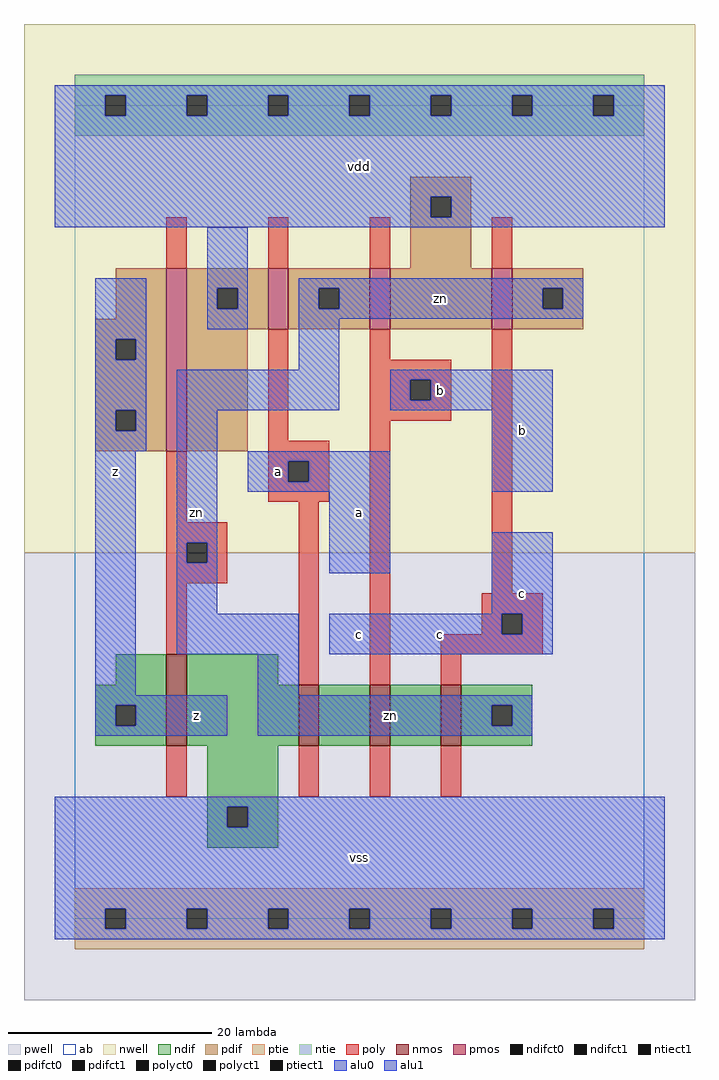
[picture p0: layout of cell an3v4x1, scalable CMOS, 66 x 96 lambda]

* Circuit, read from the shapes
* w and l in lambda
.subckt an3v4x1 a b c vdd vss z zn
M1 vss zn z vss nfet w=9 l=2
M2 n1 a vss vss nfet w=6 l=2
M3 n2 b n1 vss nfet w=6 l=2
M4 zn c n2 vss nfet w=6 l=2
M5 vdd zn z vdd pfet w=18 l=2
M6 zn a vdd vdd pfet w=6 l=2
M7 vdd b zn vdd pfet w=6 l=2
M8 zn c vdd vdd pfet w=6 l=2
.ends

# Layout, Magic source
magic
tech scmos
<< ab >>
rect 0 0 56 80
<< nwell >>
rect -5 36 61 88
<< pwell >>
rect -5 -8 61 36
<< poly >>
rect 9 64 11 69
rect 19 64 21 69
rect 29 64 31 69
rect 41 64 43 69
rect 19 47 21 58
rect 29 55 31 58
rect 29 53 37 55
rect 29 51 33 53
rect 35 51 37 53
rect 29 49 37 51
rect 9 39 11 46
rect 19 45 25 47
rect 19 43 21 45
rect 23 43 25 45
rect 19 41 25 43
rect 9 37 15 39
rect 9 35 11 37
rect 13 35 15 37
rect 9 33 15 35
rect 9 26 11 33
rect 22 23 24 41
rect 29 23 31 49
rect 41 32 43 58
rect 40 30 46 32
rect 40 28 42 30
rect 44 28 46 30
rect 36 26 46 28
rect 36 23 38 26
rect 9 12 11 17
rect 22 12 24 17
rect 29 12 31 17
rect 36 12 38 17
<< ndif >>
rect 4 23 9 26
rect 2 21 9 23
rect 2 19 4 21
rect 6 19 9 21
rect 2 17 9 19
rect 11 23 20 26
rect 11 17 22 23
rect 24 17 29 23
rect 31 17 36 23
rect 38 21 45 23
rect 38 19 41 21
rect 43 19 45 21
rect 38 17 45 19
rect 13 11 20 17
rect 13 9 15 11
rect 17 9 20 11
rect 13 7 20 9
<< pdif >>
rect 33 71 39 73
rect 33 69 35 71
rect 37 69 39 71
rect 33 64 39 69
rect 4 59 9 64
rect 2 57 9 59
rect 2 55 4 57
rect 6 55 9 57
rect 2 50 9 55
rect 2 48 4 50
rect 6 48 9 50
rect 2 46 9 48
rect 11 62 19 64
rect 11 60 14 62
rect 16 60 19 62
rect 11 58 19 60
rect 21 62 29 64
rect 21 60 24 62
rect 26 60 29 62
rect 21 58 29 60
rect 31 58 41 64
rect 43 62 50 64
rect 43 60 46 62
rect 48 60 50 62
rect 43 58 50 60
rect 11 46 17 58
<< alu1 >>
rect -2 81 58 82
rect -2 79 3 81
rect 5 79 11 81
rect 13 79 19 81
rect 21 79 27 81
rect 29 79 35 81
rect 37 79 43 81
rect 45 79 51 81
rect 53 79 58 81
rect -2 71 58 79
rect -2 69 35 71
rect 37 69 58 71
rect -2 68 58 69
rect 2 57 7 63
rect 2 55 4 57
rect 6 55 7 57
rect 2 50 7 55
rect 2 48 4 50
rect 6 48 7 50
rect 2 46 7 48
rect 31 53 47 54
rect 31 51 33 53
rect 35 51 47 53
rect 31 50 47 51
rect 2 22 6 46
rect 17 45 31 46
rect 17 43 21 45
rect 23 43 31 45
rect 17 42 31 43
rect 41 42 47 50
rect 25 34 31 42
rect 41 30 47 38
rect 25 28 42 30
rect 44 28 47 30
rect 25 26 47 28
rect 2 21 15 22
rect 2 19 4 21
rect 6 19 15 21
rect 2 18 15 19
rect -2 11 58 12
rect -2 9 15 11
rect 17 9 58 11
rect -2 1 58 9
rect -2 -1 3 1
rect 5 -1 11 1
rect 13 -1 19 1
rect 21 -1 27 1
rect 29 -1 35 1
rect 37 -1 43 1
rect 45 -1 51 1
rect 53 -1 58 1
rect -2 -2 58 -1
<< ptie >>
rect 0 1 56 3
rect 0 -1 3 1
rect 5 -1 11 1
rect 13 -1 19 1
rect 21 -1 27 1
rect 29 -1 35 1
rect 37 -1 43 1
rect 45 -1 51 1
rect 53 -1 56 1
rect 0 -3 56 -1
<< ntie >>
rect 0 81 56 83
rect 0 79 3 81
rect 5 79 11 81
rect 13 79 19 81
rect 21 79 27 81
rect 29 79 35 81
rect 37 79 43 81
rect 45 79 51 81
rect 53 79 56 81
rect 0 77 56 79
<< nmos >>
rect 9 17 11 26
rect 22 17 24 23
rect 29 17 31 23
rect 36 17 38 23
<< pmos >>
rect 9 46 11 64
rect 19 58 21 64
rect 29 58 31 64
rect 41 58 43 64
<< polyct0 >>
rect 11 35 13 37
<< polyct1 >>
rect 33 51 35 53
rect 21 43 23 45
rect 42 28 44 30
<< ndifct0 >>
rect 41 19 43 21
<< ndifct1 >>
rect 4 19 6 21
rect 15 9 17 11
<< ntiect1 >>
rect 3 79 5 81
rect 11 79 13 81
rect 19 79 21 81
rect 27 79 29 81
rect 35 79 37 81
rect 43 79 45 81
rect 51 79 53 81
<< ptiect1 >>
rect 3 -1 5 1
rect 11 -1 13 1
rect 19 -1 21 1
rect 27 -1 29 1
rect 35 -1 37 1
rect 43 -1 45 1
rect 51 -1 53 1
<< pdifct0 >>
rect 14 60 16 62
rect 24 60 26 62
rect 46 60 48 62
<< pdifct1 >>
rect 35 69 37 71
rect 4 55 6 57
rect 4 48 6 50
<< alu0 >>
rect 13 62 17 68
rect 13 60 14 62
rect 16 60 17 62
rect 13 58 17 60
rect 22 62 50 63
rect 22 60 24 62
rect 26 60 46 62
rect 48 60 50 62
rect 22 59 50 60
rect 22 54 26 59
rect 10 50 26 54
rect 10 37 14 50
rect 10 35 11 37
rect 13 35 14 37
rect 10 30 14 35
rect 10 26 22 30
rect 18 22 22 26
rect 18 21 45 22
rect 18 19 41 21
rect 43 19 45 21
rect 18 18 45 19
<< labels >>
rlabel alu0 12 40 12 40 6 zn
rlabel alu0 31 20 31 20 6 zn
rlabel alu0 36 61 36 61 6 zn
rlabel alu1 4 44 4 44 6 z
rlabel alu1 12 20 12 20 6 z
rlabel alu1 20 44 20 44 6 a
rlabel alu1 28 6 28 6 6 vss
rlabel alu1 28 28 28 28 6 c
rlabel alu1 36 28 36 28 6 c
rlabel alu1 28 40 28 40 6 a
rlabel alu1 36 52 36 52 6 b
rlabel alu1 28 74 28 74 6 vdd
rlabel alu1 44 32 44 32 6 c
rlabel alu1 44 48 44 48 6 b
<< end >>
